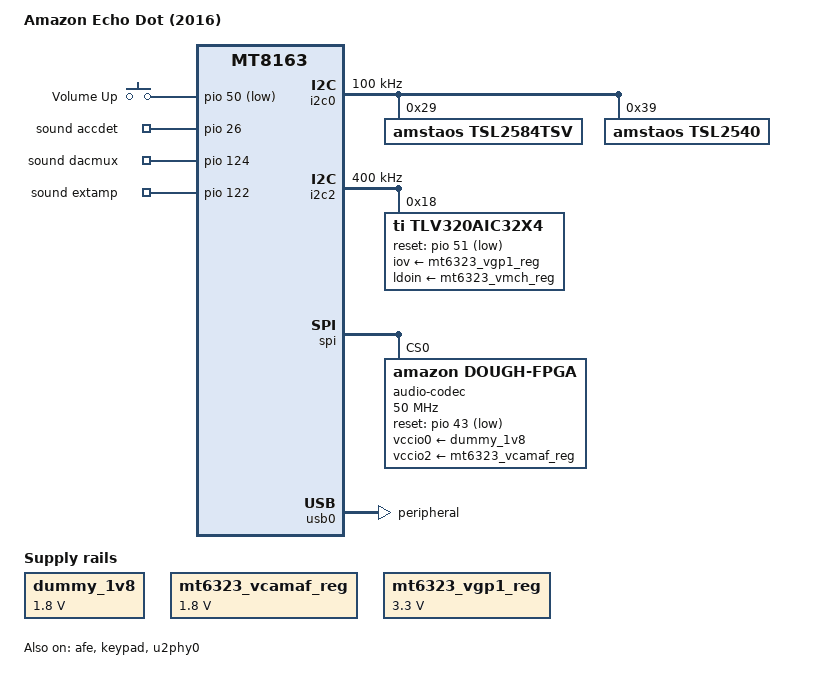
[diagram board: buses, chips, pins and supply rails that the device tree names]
// SPDX-License-Identifier: GPL-2.0
/*
 * Copyright (c) 2025-2026 Ben Grisdale <bengris32@protonmail.ch>
 */

/dts-v1/;
#include <dt-bindings/gpio/gpio.h>
#include <dt-bindings/input/input.h>
#include <dt-bindings/leds/common.h>

#include "mt8163-amazon.dtsi"
#include "mt8163-amazon-biscuit-consys.dtsi"
#include "mt8163-amazon-biscuit-leds.dtsi"

/ {
	model = "Amazon Echo Dot (2016)";
	compatible = "amazon,biscuit", "mediatek,mt8163";
	chassis-type = "embedded";

	/* Needed by stock bootloader */
	version = "evt";

	gpio-keys {
		compatible = "gpio-keys";
		pinctrl-names = "default";
		pinctrl-0 = <&gpio_keys_pins_default>;

		key-volume-up {
			label = "Volume Up";
			linux,code = <KEY_VOLUMEUP>;
			gpios = <&pio 50 GPIO_ACTIVE_LOW>;
			debounce-interval = <20>;
		};
	};

	dummy_1v8: regulator-fixed {
		compatible = "regulator-fixed";
		regulator-name = "dummy_1v8";
		regulator-min-microvolt = <1800000>;
		regulator-max-microvolt = <1800000>;
		regulator-boot-on;
		regulator-always-on;
	};

	sound {
		compatible = "amazon,mt8163-biscuit-tlv320aic32x4";

		pinctrl-0 = <&sound_pins_default>;
		pinctrl-names = "default";

		mediatek,platform = <&afe>;
		mediatek,audio-codec = <&tlv320aic32x4>;

		accdet-gpio = <&pio 26 GPIO_ACTIVE_HIGH>;
		dacmux-gpio = <&pio 124 GPIO_ACTIVE_HIGH>;
		extamp-gpio = <&pio 122 GPIO_ACTIVE_HIGH>;
	};
};

&{/soc} {
	isp_mclk: clock-controller@15008000 {
		compatible = "mediatek,isp-mclk";
		reg = <0 0x15008000 0 0x1000>;
		#clock-cells = <0>;
		clocks = <&imgsys CLK_IMG_SEN_TG>,
			 <&imgsys CLK_IMG_SEN_CAM>;
		clock-names = "sen_tg", "sen_cam";
		power-domains = <&spm MT8163_POWER_DOMAIN_DISP>,
				<&spm MT8163_POWER_DOMAIN_ISP>;
		power-domain-names = "mm", "isp";
		assigned-clocks = <&topckgen CLK_TOP_CAMTG_SEL>;
		assigned-clock-parents = <&topckgen CLK_TOP_UNIV_48M>;
	};
};

&afe {
	status = "okay";
};

&gpu {
	status = "disabled";
};

&i2c0 {
	pinctrl-names = "default";
	pinctrl-0 = <&i2c0_pins_default>;
	clock-frequency = <100000>;
	status = "okay";

	tsl2584tsv@29 {
		compatible = "amstaos,tsl2584tsv";
		reg = <0x29>;
		als_name = "taos_als";
		autozero-period-ms = <300000>;
	};

	tsl2540@39 {
		compatible = "amstaos,tsl2540";
		reg = <0x39>;
		als_name = "taos_als";
		persist = <18>;
		als_gain = <3>;
		als_gain_factor = <1>;
		als_deltap = <10>;
		als_time = <123>;
		d_factor = <47540>;
		ch0_coef0 = <1000>;
		ch1_coef0 = <305>;
		ch0_coef1 = <118>;
		ch1_coef1 = <21>;
		az_iterations = <126>;
		als_can_wake = <0>;
		boot-on;
	};
};

&i2c2 {
	pinctrl-names = "default";
	pinctrl-0 = <&i2c2_pins_default>;
	clock-frequency = <400000>;
	status = "okay";

	tlv320aic32x4: tlv320aic32x4@18 {
		compatible = "ti,tlv320aic32x4";
		reg = <0x18>;
		pinctrl-0 = <&codec_pins_default>;
		pinctrl-names = "default";
		reset-gpios = <&pio 51 GPIO_ACTIVE_LOW>;
		clocks = <&isp_mclk>;
		clock-names = "mclk";
		iov-supply = <&mt6323_vgp1_reg>;
		ldoin-supply = <&mt6323_vmch_reg>;
	};
};

&keypad {
	linux,keymap = <MATRIX_KEY(0x00, 0x00, KEY_ASSISTANT)
			MATRIX_KEY(0x00, 0x01, KEY_VOLUMEDOWN)>;

	keypad,num-rows = <1>;
	keypad,num-columns = <2>;
	debounce-delay-ms = <20>;

	pinctrl-names = "default";
	pinctrl-0 = <&keypad_pins_default>;

	status = "okay";
};

&mfgcfg {
	status = "disabled";
};

&mt6323_vcamaf_reg {
	regulator-min-microvolt = <1800000>;
	regulator-max-microvolt = <1800000>;
};

&mt6323_vgp1_reg {
	regulator-min-microvolt = <3300000>;
	regulator-max-microvolt = <3300000>;
};

&mt6323_vusb_reg {
	regulator-always-on;
};

&spi {
	status = "okay";
	pinctrl-names = "default";
	pinctrl-0 = <&spi_pins_default>;

	audio-codec@0 {
		compatible = "amazon,dough-fpga";
		reg = <0>;
		pinctrl-0 = <&fpga_pins_init>,
			    <&i2s_pins_init>;
		pinctrl-1 = <&i2s_pins_default>;
		pinctrl-names = "init", "default";
		spi-max-frequency = <50000000>;
		reset-gpios = <&pio 43 GPIO_ACTIVE_LOW>;
		/* TODO: Find the real vccio0... */
		vccio0-supply = <&dummy_1v8>;
		vccio2-supply = <&mt6323_vcamaf_reg>;
	};
};

&thermal {
	status = "disabled";
};

&u2phy0 {
	status = "okay";
};

&usb0 {
	/* No 5V supply for OTG support. */
	dr_mode = "peripheral";
	status = "okay";
};

&vdecsys {
	status = "disabled";
};

&vencsys {
	status = "disabled";
};

&pio {
	sound_pins_default: sound-pins-default {
		pins-accdet {
			pinmux = <MT8163_PIN_26_EINT4__FUNC_GPIO26>;
			bias-disable;
		};

		pins-dacmux {
			pinmux = <MT8163_PIN_124_MSDC1_DAT1__FUNC_GPIO124>;
			output-low;
		};

		pins-extamp {
			pinmux = <MT8163_PIN_122_MSDC1_CLK__FUNC_GPIO122>;
			output-low;
		};

		pins-mclk {
			pinmux = <MT8163_PIN_119_CMMCLK__FUNC_CMMCLK>;
			drive-strength = <MTK_DRIVE_4mA>;
		};
	};

	i2s_pins_init: i2s-pins-init {
		pins-i2s {
			pinmux = <MT8163_PIN_72_I2S_DATA_IN__FUNC_GPIO72>,
				 <MT8163_PIN_73_I2S_LRCK__FUNC_GPIO73>,
				 <MT8163_PIN_74_I2S_BCK__FUNC_GPIO74>;
		};
	};

	i2s_pins_default: i2s-pins-default {
		pins-i2s {
			pinmux = <MT8163_PIN_72_I2S_DATA_IN__FUNC_I2S1_DO>,
				 <MT8163_PIN_73_I2S_LRCK__FUNC_I2S1_LRCK>,
				 <MT8163_PIN_74_I2S_BCK__FUNC_I2S1_BCK>;
			drive-strength = <MTK_DRIVE_4mA>;
		};
	};

	fpga_pins_init: fpga-pins-init {
		pins-reset {
			pinmux = <MT8163_PIN_43_EINT11__FUNC_GPIO43>;
		};
	};

	codec_pins_default: codec-pins {
		pins {
			pinmux = <MT8163_PIN_51_EINT19__FUNC_GPIO51>;
		};
	};

	gpio_keys_pins_default: gpio-keys-pins {
		pins {
			pinmux = <MT8163_PIN_50_EINT18__FUNC_GPIO50>;
			bias-pull-up;
			input-enable;
		};
	};

	keypad_pins_default: keypad-pins {
		pins {
			pinmux = <MT8163_PIN_36_KPCOL0__FUNC_KPCOL0>,
					 <MT8163_PIN_37_KPCOL1__FUNC_KPCOL1>;
			input-enable;
		};
	};

	i2c0_pins_default: i2c0-pins {
		pins1 {
			pinmux = <MT8163_PIN_75_SDA0__FUNC_SDA0_0>,
				 <MT8163_PIN_76_SCL0__FUNC_SCL0_0>;
			bias-disable;
		};
	};

	i2c2_pins_default: i2c2-pins {
		pins {
			pinmux = <MT8163_PIN_77_SDA2__FUNC_SDA2_0>,
				 <MT8163_PIN_78_SCL2__FUNC_SCL2_0>;
			bias-disable;
		};
	};

	spi_pins_default: spi-pins {
		pins {
			pinmux = <MT8163_PIN_53_SPI_CS__FUNC_SPI_CSB>,
				 <MT8163_PIN_54_SPI_CK__FUNC_SPI_CLK>,
				 <MT8163_PIN_55_SPI_MI__FUNC_SPI_MI>,
				 <MT8163_PIN_56_SPI_MO__FUNC_SPI_MO>;
			bias-disable;
			drive-strength = <MTK_DRIVE_2mA>;
		};
	};
};
